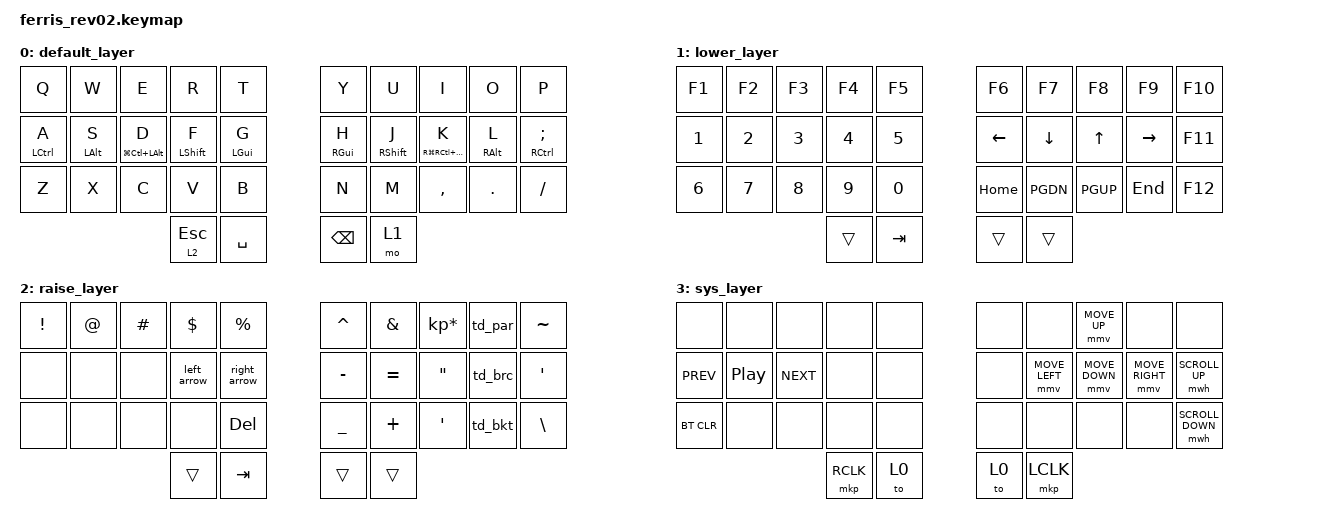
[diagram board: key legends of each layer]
/*
 * Copyright (c) 2020 The ZMK Contributors
 *
 * SPDX-License-Identifier: MIT
 */

#include <behaviors.dtsi>
#include <dt-bindings/zmk/keys.h>
#include <dt-bindings/zmk/bt.h>

#define NAV_L 1
#define OTHER_L 2
#define NUM_L 3
#define SYM_L 4

// Using layer taps on thumbs, having quick tap as well helps w/ repeating space/backspace
&lt { quick_tap_ms = <200>; };

/ {
	combos {
		compatible = "zmk,combos";
		combo_shift {
		    timeout-ms = <50>;
		    key-positions = <31 32>;
		    bindings = <&caps_word>;
		};
		combo_tab {
		    timeout-ms = <50>;
		    key-positions = <0 9>;
		    bindings = <&kp TAB>;
		};
		combo_enter {
		    timeout-ms = <50>;
		    key-positions = <10 19>;
		    bindings = <&kp RET>;
		};
		combo_enter_r {
		    timeout-ms = <50>;
		    key-positions = <14 15>;
		    bindings = <&kp RET>;
		};
		combo_sys {
		    timeout-ms = <50>;
		    key-positions = <20 29>;
		    bindings = <&to 3>;
		};
	    };

	behaviors {
		hm: homerow_mods {
		    compatible = "zmk,behavior-hold-tap";
		    label = "HOMEROW_MODS";
		    #binding-cells = <2>;
		    tapping-term-ms = <180>;
		    quick_tap_ms = <0>;
		    flavor = "tap-preferred";
		    bindings = <&kp>, <&kp>;
		};
		ltf: layer_tap_fast {
		    compatible = "zmk,behavior-hold-tap";
		    label = "LAYER TAP FAST";
		    #binding-cells = <2>;
		    tapping-term-ms = <125>;
		    quick_tap_ms = <0>;
		    flavor = "tap-preferred";
		    bindings = <&mo>, <&kp>;
		};
		td_par: tdpar {
		    compatible = "zmk,behavior-tap-dance";
		    label = "TDPAR";
		    #binding-cells = <0>;
		    tapping-term-ms = <150>;
		    bindings = <&kp LPAR>, <&kp RPAR>;
		};
		td_brc: tdbrc {
		    compatible = "zmk,behavior-tap-dance";
		    label = "TDBRC";
		    #binding-cells = <0>;
		    tapping-term-ms = <150>;
		    bindings = <&kp LBRC>, <&kp RBRC>;
		};
		td_bkt: tdbkt {
		    compatible = "zmk,behavior-tap-dance";
		    label = "TDBKT";
		    #binding-cells = <0>;
		    tapping-term-ms = <150>;
		    bindings = <&kp LBKT>, <&kp RBKT>;
		};
		td_apos: tdapos {
		    compatible = "zmk,behavior-tap-dance";
		    label = "TDAPOS";
		    #binding-cells = <0>;
		    tapping-term-ms = <150>;
		    bindings = <&kp APOS>, <&kp PIPE>;
		};
	};

	macros {
		ZMK_MACRO(right_arrow,
			bindings = <&macro_tap &kp MINUS &kp GT>;
		)

		ZMK_MACRO(left_arrow,
			bindings = <&macro_tap &kp LT &kp MINUS>;
		)
	};

    keymap {
        compatible = "zmk,keymap";

        default_layer {
            bindings = <
                &kp Q &kp W &kp E &kp R &kp T     &kp Y &kp U &kp I &kp O &kp P
                &hm LCTL A &hm LALT S &hm LG(LC(LALT)) D &hm LSHFT F &hm LGUI G     &hm RGUI H &hm RSHFT J &hm RG(RC(RALT)) K &hm RALT L &hm RCTRL SEMI
                &kp Z &kp X &kp C &kp V &kp B     &kp N &kp M &kp COMMA &kp DOT &kp FSLH
                         &ltf 2 ESC &kp SPACE     &kp BSPC &mo 1
            >;
        };

        lower_layer {
            bindings = <
   &kp F1 &kp F2 &kp F3 &kp F4 &kp F5   &kp F6 &kp F7 &kp F8 &kp F9 &kp F10 
   &kp N1 &kp N2 &kp N3 &kp N4 &kp N5   &kp LEFT &kp DOWN &kp UP &kp RIGHT &kp F11 
   &kp N6 &kp N7 &kp N8 &kp N9 &kp N0   &kp HOME &kp PGDN &kp PGUP &kp END &kp F12 
                       &trans &kp TAB   &trans &trans 
            >;
        };

        raise_layer {
            bindings = <
&kp EXCL &kp AT &kp HASH &kp DLLR &kp PRCNT   &kp CARET &kp AMPS &kp KP_MULTIPLY &td_par &kp TILDE 
 &none &none &none &left_arrow &right_arrow   &kp MINUS &kp EQUAL &kp DQT &td_brc &kp APOS 
            &none &none &none &none &kp DEL   &kp UNDER &kp PLUS &kp SQT &td_bkt &kp BSLH 
                             &trans &kp TAB   &trans &trans 
            >;
        };

        sys_layer {
            bindings = <
             &none &none &none &none &none   &none &none &mmv MOVE_UP &none &none 
&kp C_PREV &kp C_PP &kp C_NEXT &none &none   &none &mmv MOVE_LEFT &mmv MOVE_DOWN &mmv MOVE_RIGHT &mwh SCROLL_UP 
        &bt BT_CLR &none &none &none &none   &none &none &none &none &mwh SCROLL_DOWN 
                           &mkp RCLK &to 0   &to 0 &mkp LCLK 
            >;
        };

    };
};
